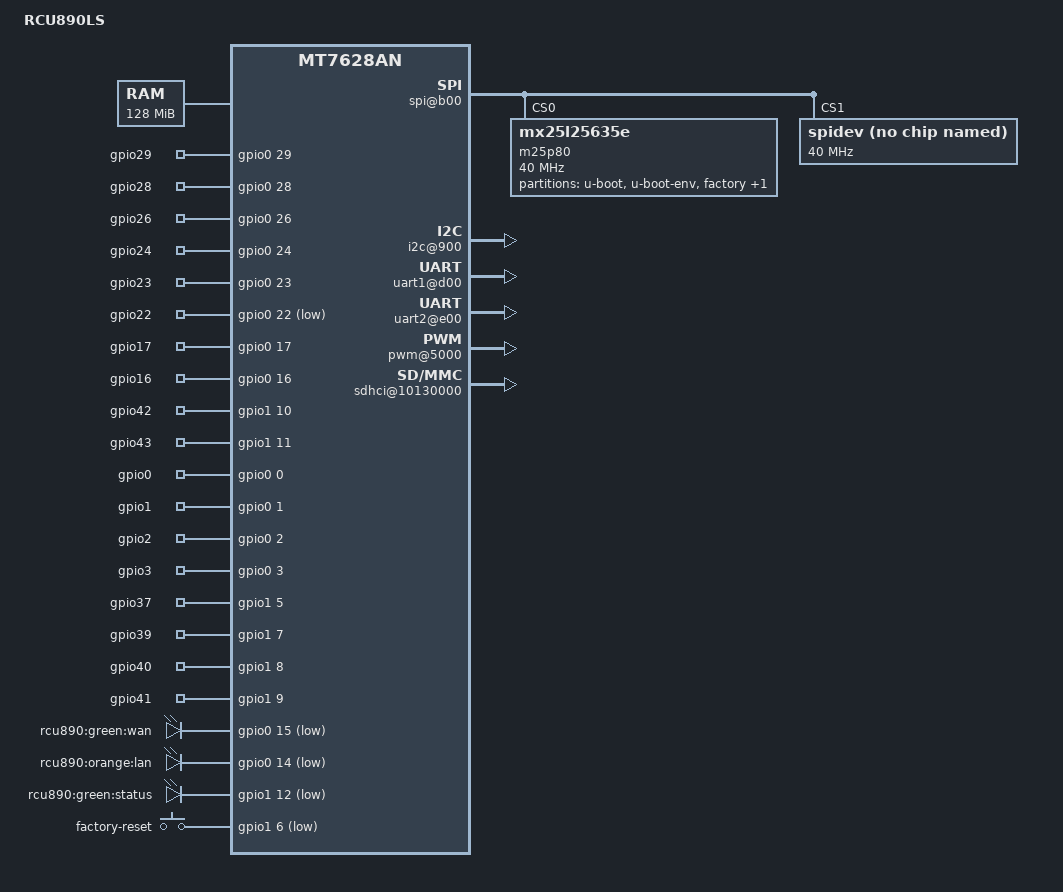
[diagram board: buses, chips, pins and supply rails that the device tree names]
/dts-v1/;

/include/ "mt7628an.dtsi"

/ {
	compatible = "mediatek", "mediatek,mt7628an-soc";
	model = "RCU890LS";

	chosen {
		bootargs = "console=ttyS0,115200";
	};

	memory@0 {
		device_type = "memory";
		reg = <0x0 0x8000000>;
	};

	pinctrl {
		state_default: pinctrl0 {
			gpio {
				ralink,group = "gpio","perst","refclk","i2s","spis","wled_an","wdt","pwm0","pwm1";
				ralink,function = "gpio";
			};

		};
	};

	palmbus@10000000 {
		spi@b00 {
			status = "okay";

			pinctrl-names = "default";
			pinctrl-0 = <&spi_pins>, <&spi_cs1_pins>;

			m25p80@0 {
				#address-cells = <1>;
				#size-cells = <1>;
				compatible = "mx25l25635e";
				reg = <0 0>;
				linux,modalias = "m25p80", "mx25l25635e";
				spi-max-frequency = <40000000>;
				m25p,chunked-io = <31>;

				partition@0 {
					label = "u-boot";
					reg = <0x0 0x30000>;
					read-only;
				};

				partition@30000 {
					label = "u-boot-env";
					reg = <0x30000 0x10000>;
				};

				factory: partition@40000 {
					label = "factory";
					reg = <0x40000 0x10000>;
					read-only;
				};

				partition@50000 {
					label = "firmware";
					reg = <0x50000 0x1fb0000>;
				};
			};

			spidev@1 {
				#address-cells = <1>;
				#size-cells = <1>;
				compatible = "spidev";
				reg = <1 0>;
				spi-max-frequency = <40000000>;
			};
		};

		i2c@900 {
			status = "okay";
		};

		uart1@d00 {
			status = "okay";
		};

		uart2@e00 {
			status = "okay";
		};

		pwm@5000 {
			status = "okay";
		};
	};

	ethernet@10100000 {
		mtd-mac-address = <&factory 0x28>;
	};

	sdhci@10130000 {
		status = "okay";
		mediatek,cd-high;
//		mediatek,cd-poll;
	};

	bootstrap {
		compatible = "mediatek,rcu890lhv2";

		status = "okay";
	};

	gpio-export {
		compatible = "gpio-export";
		#size-cells = <0>;

		/* MDI_TN_P4[GPIO#29] => LTE_RESET */
		gpio29 {
			gpio-export,name = "gpio29";
			gpio-export,output = <0>;
			gpios = <&gpio0 29 0>;
		};

		/* MDI_TP_P4[GPIO#28] => CL */
		gpio28 {
			gpio-export,name = "gpio28";
			gpio-export,direction_may_change = <1>;
			gpios = <&gpio0 28 0>;
		};

		/* MDI_RP_P4[GPIO#26] => RCU_GPIO_3 */
		gpio26 {
			gpio-export,name = "gpio26";
			gpio-export,direction_may_change = <1>;
			gpios = <&gpio0 26 0>;
		};

		/* MDI_RP_P3[GPIO#24] => RCU_GPIO_2 */
		gpio24 {
			gpio-export,name = "gpio24";
			gpio-export,direction_may_change = <1>;
			gpios = <&gpio0 24 0>;
		};

		/* MDI_TN_P3[GPIO#23] => RCU_GPIO_1 */
		gpio23 {
			gpio-export,name = "gpio23";
			gpio-export,direction_may_change = <1>;
			gpios = <&gpio0 23 0>;		
		};


		/* MDI_TP_P3[GPIO#22] => RCU_GPIO_0 */
		gpio22 {
			gpio-export,name = "gpio22";
			gpio-export,direction_may_change = <1>;
			gpios = <&gpio0 22 1>;
		};		

		/* MDI_RN_P1[GPIO#17] => RCU_LED_GREEN_1_SERIAL_RX_TX */
		gpio17 {
			/* for rcu890d compability */
			gpio-export,name = "gpio17";
			gpio-export,output = <0>;
			gpios = <&gpio0 17 0>;
		};		

		/* MDI_RN_P1[GPIO#16] => RCU_LED_RED */
		gpio16 {
			/* for rcu890d compability */
			gpio-export,name = "gpio16";
			gpio-export,output = <0>;
			gpios = <&gpio0 16 0>;
		};		

		/* EPHY_LED1[GPIO#42] => RCU_DCD */
		gpio42 {
			/* for rcu890d compability */
			gpio-export,name = "gpio42";
			gpio-export,output = <0>;
			gpios = <&gpio1 10 0>;
		};				

		/* EPHY_LED0[GPIO#43] => RCU_DSR */
		gpio43 {
			/* for rcu890d compability */
			gpio-export,name = "gpio43";
			gpio-export,output = <0>;
			gpios = <&gpio1 11 0>;
		};	

		/* I2S_SDI[GPIO#0] => RCU_RTS */
		gpio0 {
			/* for rcu890d compability */
			gpio-export,name = "gpio0";
			gpio-export,direction_may_change = <1>;
			gpios = <&gpio0 0 0>;
		};	

		/* I2S_SDO[GPIO#1] => RCU_CTS */
		gpio1 {
			/* for rcu890d compability */
			gpio-export,name = "gpio1";
			gpio-export,output = <0>;
			gpios = <&gpio0 1 0>;
		};	

		/* I2S_WS[GPIO#2] => RCU_DTR */
		gpio2 {
			/* for rcu890d compability */
			gpio-export,name = "gpio2";
			gpio-export,direction_may_change = <1>;
			gpios = <&gpio0 2 0>;
		};	

		/* I2S_CLK[GPIO#3] => RCU_RI */
		gpio3 {
			/* for rcu890d compability */
			gpio-export,name = "gpio3";
			gpio-export,output = <0>;
			gpios = <&gpio0 3 0>;
		};



		/* REF_CLK0[GPIO#37] => HW_VERSION */
		gpio37 {
			/* for rcu890d compability */
			gpio-export,name = "gpio37";
			gpio-export,output = <0>;
			gpios = <&gpio1 5 0>;
		};
	
		/* EPHY_LED4[GPIO#39] => VERSION_BIT_0 */
		gpio39 {
			/* for rcu890d compability */
			gpio-export,name = "gpio39";
			gpio-export,direction_may_change = <1>;
			gpios = <&gpio1 7 0>;
		};

		/* EPHY_LED3[GPIO#40] => VERSION_BIT_1 */
		gpio40 {
			/* for rcu890d compability */
			gpio-export,name = "gpio40";
			gpio-export,direction_may_change = <1>;
			gpios = <&gpio1 8 0>;
		};

		/* EPHY_LED2[GPIO#41] => VERSION_BIT_2 */
		gpio41 {
			/* for rcu890d compability */
			gpio-export,name = "gpio41";
			gpio-export,direction_may_change = <1>;
			gpios = <&gpio1 9 0>;
		};

	};

	gpio-leds {
		compatible = "gpio-leds";

		wan {
			/* MDI_TN_P1[GPIO#15] -> LED_WAN*/
			label = "rcu890:green:wan";
			gpios = <&gpio0 15 1>;
			default-state = "off";
		};

		lan {
			/* MDI_TP_P1[GPIO#14] -> LED_LAN*/
			label = "rcu890:orange:lan";
			gpios = <&gpio0 14 1>;
			default-state = "off";
		};

		status {
			/* WLED_N[GPIO#44] */
			label = "rcu890:green:status";
			gpios = <&gpio1 12 1>;
			default-state = "on";
		};				

		
	};

	/* WDT_RST_N[GPIO#38] ==> FACTORY_RESET */
	gpio-keys-polled {
		compatible = "gpio-keys-polled";
		poll-interval = <200>;
		reset {
			label = "factory-reset";
			gpios = <&gpio1 6 1>;
			linux,code = <0x198>;
		};
	};
};
